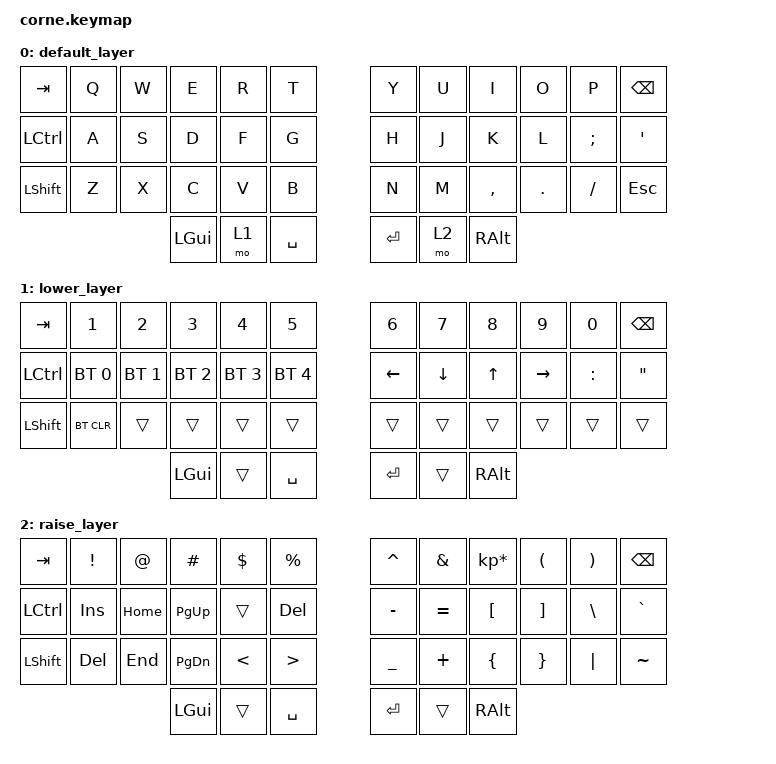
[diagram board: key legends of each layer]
/*
 * Copyright (c) 2020 The ZMK Contributors
 *
 * SPDX-License-Identifier: MIT
 */

#include <behaviors.dtsi>
#include <dt-bindings/zmk/bt.h>
#include <dt-bindings/zmk/keys.h>

/ {
    keymap {
        compatible = "zmk,keymap";

        default_layer {
            // -----------------------------------------------------------------------------------------
            // |  TAB |  Q  |  W  |  E  |  R  |  T  |   |  Y  |  U   |  I  |  O  |  P  | BKSP |
            // | CTRL |  A  |  S  |  D  |  F  |  G  |   |  H  |  J   |  K  |  L  |  ;  |  '   |
            // | SHFT |  Z  |  X  |  C  |  V  |  B  |   |  N  |  M   |  ,  |  .  |  /  | ESC  |
            //                    | GUI | LWR | SPC |   | ENT | RSE  | ALT |

            bindings = <
&kp TAB    &kp Q  &kp W  &kp E     &kp R  &kp T        &kp Y    &kp U  &kp I      &kp O    &kp P     &kp BSPC
&kp LCTRL  &kp A  &kp S  &kp D     &kp F  &kp G        &kp H    &kp J  &kp K      &kp L    &kp SEMI  &kp SQT
&kp LSHFT  &kp Z  &kp X  &kp C     &kp V  &kp B        &kp N    &kp M  &kp COMMA  &kp DOT  &kp FSLH  &kp ESC
                         &kp LGUI  &mo 1  &kp SPACE    &kp RET  &mo 2  &kp RALT
            >;
        };

        lower_layer {
            // -----------------------------------------------------------------------------------------
            // |  TAB |   1   |  2  |  3  |  4  |  5  |   |  6  |  7  |  8  |  9  |  0  | BKSP |
            // | CTRL |  BT1  | BT2 | BT3 | BT4 | BT5 |   | LFT | DWN |  UP | RGT |  :  |  "   |
            // | SHFT | BTCLR |     |     |     |     |   |     |     |     |     |     |      |
            //                    | GUI |     | SPC |   | ENT |     | ALT |

            bindings = <
&kp TAB     &kp N1        &kp N2        &kp N3        &kp N4        &kp N5          &kp N6    &kp N7    &kp N8    &kp N9     &kp N0     &kp BSPC
&kp LCTRL   &bt BT_SEL 0  &bt BT_SEL 1  &bt BT_SEL 2  &bt BT_SEL 3  &bt BT_SEL 4    &kp LEFT  &kp DOWN  &kp UP    &kp RIGHT  &kp COLON  &kp DOUBLE_QUOTES
&kp LSHFT   &bt BT_CLR    &trans        &trans        &trans        &trans          &trans    &trans    &trans    &trans     &trans     &trans
                                        &kp LGUI      &trans        &kp SPACE       &kp RET   &trans    &kp RALT
            >;
        };

        raise_layer {
            // -----------------------------------------------------------------------------------------
            // |  TAB |  !  |  @  |  #  |  $  |  %  |   |  ^  |  &  |  *  |  (  |  )  | BKSP |
            // | CTRL | INS | HOME|PG UP|     | DEL |   |  -  |  =  |  [  |  ]  |  \  |  `   |
            // | SHFT | DEL | END |PGDwn|  <  |  >  |   |  _  |  +  |  {  |  }  | "|" |  ~   |
            //                    | GUI |     | SPC |   | ENT |     | ALT |

            bindings = <
&kp TAB    &kp EXCL    &kp AT    &kp HASH       &kp DLLR       &kp PRCNT           &kp CARET  &kp AMPS   &kp KP_MULTIPLY  &kp LPAR  &kp RPAR  &kp BSPC
&kp LCTRL  &kp INSERT  &kp HOME  &kp PAGE_UP    &trans         &kp DEL             &kp MINUS  &kp EQUAL  &kp LBKT         &kp RBKT  &kp BSLH  &kp GRAVE
&kp LSHFT  &kp DEL     &kp END   &kp PAGE_DOWN  &kp LESS_THAN  &kp GREATER_THAN    &kp UNDER  &kp PLUS   &kp LBRC         &kp RBRC  &kp PIPE  &kp TILDE
                                 &kp LGUI       &trans         &kp SPACE           &kp RET    &trans     &kp RALT
            >;
        };
    };
};
